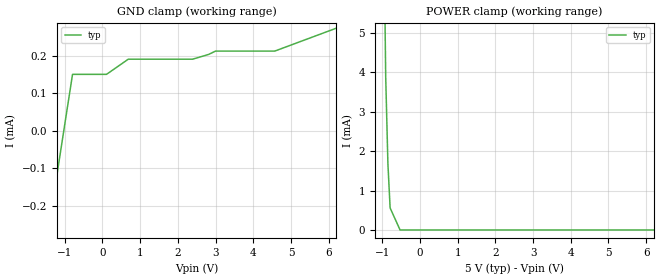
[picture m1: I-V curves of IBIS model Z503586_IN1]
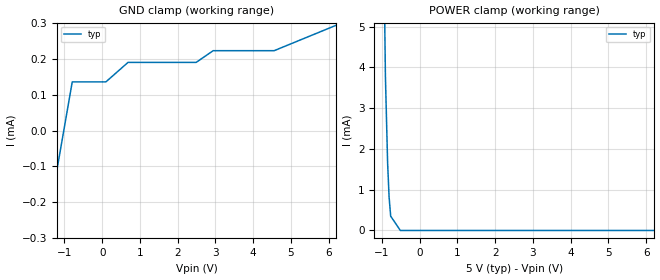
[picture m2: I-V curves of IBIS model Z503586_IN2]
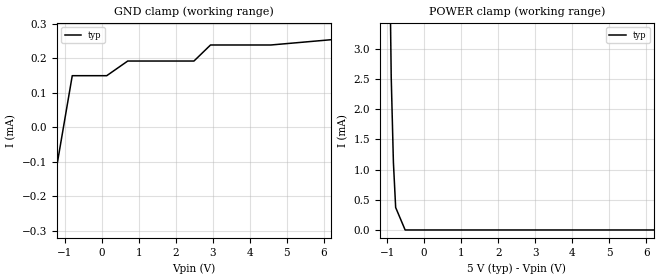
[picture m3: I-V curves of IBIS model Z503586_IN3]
| YOU ARE ONLY AUTHORIZED TO USE THIS SOFTWARE
| ACCORDING TO LICENSOR'S LICENSE RESTRICTIONS.
[IBIS Ver] 3.1
[File Name] mc14161bd.ibs
[File Rev] 2.0
[Source] Measured and created by ICX Technology
[Date] Friday 7/14/00 9:07:53 AM
[Copyright]
| (C) COPYRIGHT 1993-2000
| MENTOR GRAPHICS CORPORATION
| ICX STANDARD LIBRARY, ICX PROJECT MODELING,
| ICX CUSTOM MODELING, ICX VENDOR MODEL
| ALL RIGHTS RESERVED.
| THE FOLLOWING ARE TRADEMARKS OR SERVICE MARKS OF
| MENTOR GRAPHICS CORPORATION:ICX (R), ICX STANDARD
| LIBRARY(R), ICX PROJECT MODELING(R), ICX CUSTOM
| MODELING(R), qualityIBIS(TM), MODELVIEWER(TM),
| AND MODELEDITOR(TM)
| ALL COPIES OF SOFTWARE, INCLUDING BUT NOT LIMITED TO
| ANY MODIFICATIONS, ENHANCEMENTS OR DERIVATIVE WORKS,
| MUST CONTAIN ALL MENTOR GRAPHICS CORPORATION'S
| NOTICES AND LEGENDS, INCLUDING THOSE EMBEDDED IN
| SOFTWARE AND THOSE AFFIXED TO SOFTWARE MEDIUM
| AND CONTAINER, AS RECEIVED FROM MENTOR GRAPHICS
| CORPORATION.
|  ZAP Model Builder 2.7
[Component] MC14161BD
[Manufacturer] OnSemiconductor
[Package]
| variable   typ   min   max
R_pkg  .156ohms NA NA
L_pkg  3.148nH NA NA
C_pkg  .388pF NA NA
[Pin] signal_name  model_name  R_pin  L_pin C_pin
1 _Clear Z503586_IN1 .162 3.798n .418p
2 Clock Z503586_IN1 .158 3.358n .398p
3 P1 Z503586_IN2 .154 2.928n .378p
4 P2 Z503586_IN2 .15 2.508n .358p
5 P3 Z503586_IN2 .15 2.508n .358p
6 P4 Z503586_IN2 .154 2.928n .378p
7 PE Z503586_IN3 .158 3.358n .398p
8 VSS POWER .162 3.798n .418p
9 _Load Z503586_IN2 .162 3.798n .418p
10 TE Z503586_IN3 .158 3.358n .398p
11 Q4 Z503586_OUT4 .154 2.928n .378p
12 Q3 Z503586_OUT4 .15 2.508n .358p
13 Q2 Z503586_OUT4 .15 2.508n .358p
14 Q1 Z503586_OUT4 .154 2.928n .378p
15 Carry_Out Z503586_OUT5 .158 3.358n .398p
16 VDD POWER .162 3.798n .418p
| Models and submodels in the file (5): Z503586_IN1 (Input), Z503586_IN2 (Input), Z503586_IN3 (Input), Z503586_OUT4 (Output), Z503586_OUT5 (Output)
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| (C) COPYRIGHT 1993-2000
| MENTOR GRAPHICS CORPORATION
| ICX STANDARD LIBRARY, ICX PROJECT MODELING,
| ICX CUSTOM MODELING, ICX VENDOR MODEL
| ALL RIGHTS RESERVED.
| THE FOLLOWING ARE TRADEMARKS OR SERVICE MARKS OF
| MENTOR GRAPHICS CORPORATION:ICX (R), ICX STANDARD
| LIBRARY(R), ICX PROJECT MODELING(R), ICX CUSTOM
| MODELING(R), qualityIBIS(TM), MODELVIEWER(TM),
| AND MODELEDITOR(TM)
| ALL COPIES OF SOFTWARE, INCLUDING BUT NOT LIMITED TO
| ANY MODIFICATIONS, ENHANCEMENTS OR DERIVATIVE WORKS,
| MUST CONTAIN ALL MENTOR GRAPHICS CORPORATION'S
| NOTICES AND LEGENDS, INCLUDING THOSE EMBEDDED IN
| SOFTWARE AND THOSE AFFIXED TO SOFTWARE MEDIUM
| AND CONTAINER, AS RECEIVED FROM MENTOR GRAPHICS
| CORPORATION.
| Model Application Version 1.89 2/18/99.
[Model] Z503586_IN1
Model_type Input
Vinl = 1.500V
Vinh = 3.500V
C_comp 4.000pF NA NA
| variable typ   min   max
[Voltage Range] 5.000V NA NA
[GND Clamp Reference] 0.000V NA NA
[POWER Clamp Reference] 5.000V NA NA
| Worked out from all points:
|   POWER clamp passes 1 mA (typ) near -0.81 V on its own axis
[GND Clamp]
-5V       -2.578mA   NA         NA
-793.5mV  149.8uA    NA         NA
108mV     149.8uA    NA         NA
684.9mV   190.2uA    NA         NA
2.391V    190.2uA    NA         NA
2.818V    203uA      NA         NA
2.998V    211.8uA    NA         NA
4.569V    211.8uA    NA         NA
10V       415uA      NA         NA
[POWER Clamp]
-5V       768.7mA    NA         NA
-1.176V   35.11mA    NA         NA
-1.054V   17.28mA    NA         NA
-1.001V   11.16mA    NA         NA
-908mV    3.881mA    NA         NA
-850mV    1.688mA    NA         NA
-791mV    557.9uA    NA         NA
-527.3mV  0A         NA         NA
10V       0A         NA         NA
| (C) COPYRIGHT 1993-2000
| MENTOR GRAPHICS CORPORATION
| ICX STANDARD LIBRARY, ICX PROJECT MODELING,
| ICX CUSTOM MODELING, ICX VENDOR MODEL
| ALL RIGHTS RESERVED.
| THE FOLLOWING ARE TRADEMARKS OR SERVICE MARKS OF
| MENTOR GRAPHICS CORPORATION:ICX (R), ICX STANDARD
| LIBRARY(R), ICX PROJECT MODELING(R), ICX CUSTOM
| MODELING(R), qualityIBIS(TM), MODELVIEWER(TM),
| AND MODELEDITOR(TM)
| ALL COPIES OF SOFTWARE, INCLUDING BUT NOT LIMITED TO
| ANY MODIFICATIONS, ENHANCEMENTS OR DERIVATIVE WORKS,
| MUST CONTAIN ALL MENTOR GRAPHICS CORPORATION'S
| NOTICES AND LEGENDS, INCLUDING THOSE EMBEDDED IN
| SOFTWARE AND THOSE AFFIXED TO SOFTWARE MEDIUM
| AND CONTAINER, AS RECEIVED FROM MENTOR GRAPHICS
| CORPORATION.
| Model Application Version 1.89 2/18/99.
[Model] Z503586_IN2
Model_type Input
Vinl = 1.500V
Vinh = 3.500V
C_comp 4.000pF NA NA
| variable typ   min   max
[Voltage Range] 5.000V NA NA
[GND Clamp Reference] 0.000V NA NA
[POWER Clamp Reference] 5.000V NA NA
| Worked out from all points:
|   POWER clamp passes 1 mA (typ) near -0.82 V on its own axis
[GND Clamp]
-5V       -2.418mA   NA         NA
-793.5mV  136.1uA    NA         NA
98.3mV    136.1uA    NA         NA
684.8mV   190.6uA    NA         NA
2.489V    190.6uA    NA         NA
2.94V     223.3uA    NA         NA
4.555V    223.3uA    NA         NA
10V       459uA      NA         NA
[POWER Clamp]
-5V       604.2mA    NA         NA
-1.181V   30.42mA    NA         NA
-1.02V    11.89mA    NA         NA
-908mV    3.773mA    NA         NA
-850mV    1.657mA    NA         NA
-811mV    822.3uA    NA         NA
-769mV    351.6uA    NA         NA
-512.7mV  0A         NA         NA
10V       0A         NA         NA
| (C) COPYRIGHT 1993-2000
| MENTOR GRAPHICS CORPORATION
| ICX STANDARD LIBRARY, ICX PROJECT MODELING,
| ICX CUSTOM MODELING, ICX VENDOR MODEL
| ALL RIGHTS RESERVED.
| THE FOLLOWING ARE TRADEMARKS OR SERVICE MARKS OF
| MENTOR GRAPHICS CORPORATION:ICX (R), ICX STANDARD
| LIBRARY(R), ICX PROJECT MODELING(R), ICX CUSTOM
| MODELING(R), qualityIBIS(TM), MODELVIEWER(TM),
| AND MODELEDITOR(TM)
| ALL COPIES OF SOFTWARE, INCLUDING BUT NOT LIMITED TO
| ANY MODIFICATIONS, ENHANCEMENTS OR DERIVATIVE WORKS,
| MUST CONTAIN ALL MENTOR GRAPHICS CORPORATION'S
| NOTICES AND LEGENDS, INCLUDING THOSE EMBEDDED IN
| SOFTWARE AND THOSE AFFIXED TO SOFTWARE MEDIUM
| AND CONTAINER, AS RECEIVED FROM MENTOR GRAPHICS
| CORPORATION.
| Model Application Version 1.89 2/18/99.
[Model] Z503586_IN3
Model_type Input
Vinl = 1.500V
Vinh = 3.500V
C_comp 4.000pF NA NA
| variable typ   min   max
[Voltage Range] 5.000V NA NA
[GND Clamp Reference] 0.000V NA NA
[POWER Clamp Reference] 5.000V NA NA
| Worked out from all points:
|   POWER clamp passes 1 mA (typ) near -0.82 V on its own axis
[GND Clamp]
-5V       -2.493mA   NA         NA
-793.5mV  148.8uA    NA         NA
137.4mV   148.8uA    NA         NA
704.5mV   191.3uA    NA         NA
2.493V    191.3uA    NA         NA
2.94V     237.8uA    NA         NA
4.569V    237.8uA    NA         NA
10V       288.8uA    NA         NA
[POWER Clamp]
-5V       390.2mA    NA         NA
-1.189V   22.32mA    NA         NA
-1.005V   8.136mA    NA         NA
-889mV    2.536mA    NA         NA
-830mV    1.122mA    NA         NA
-769mV    372.1uA    NA         NA
-512.7mV  0A         NA         NA
10V       0A         NA         NA
